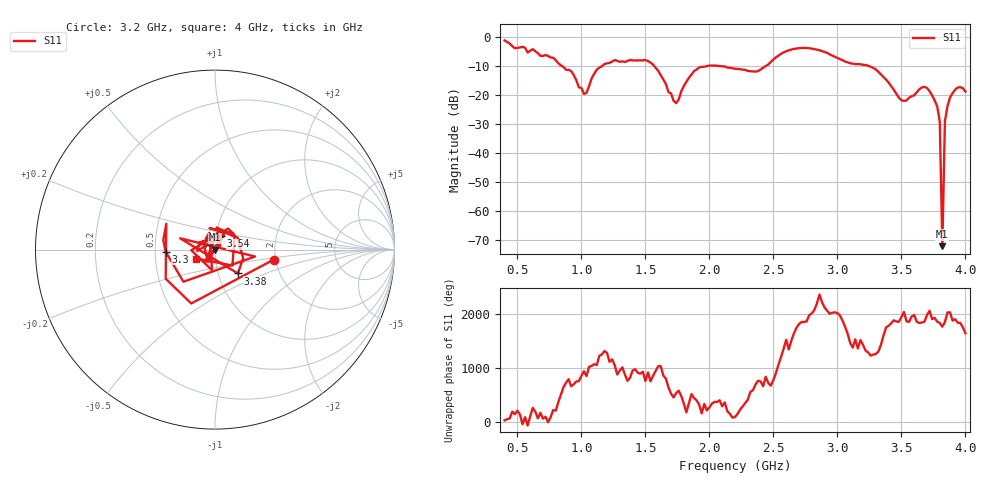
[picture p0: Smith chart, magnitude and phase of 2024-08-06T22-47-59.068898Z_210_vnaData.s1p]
!Created with skrf (http://scikit-rf.org).
# Hz S RI R 50.0
!freq ReS11 ImS11
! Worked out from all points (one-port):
!   181 points, 400 MHz to 4 GHz, reference 50 ohm
!   lowest |S11| = -72.0 dB at 3.82 GHz (marker M1), VSWR 1.00, Z = 50 - j0.0135 ohm
!   |S11| at or under -10 dB: 1.568 GHz to 1.985 GHz (416.6 MHz wide, 23.4 % of centre); 2.07 GHz to 2.441 GHz (370.4 MHz wide, 16.4 % of centre); 3.245 GHz to end of sweep (the widest 3 of 4)
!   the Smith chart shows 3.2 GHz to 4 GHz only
!   S11 on the Smith chart (normalised r, x): 3.2 GHz: 1.95, -0.25; 3.3 GHz: 0.57, -0.01; 3.38 GHz: 1.24, -0.34; 3.54 GHz: 1.06, +0.16; 4 GHz: 0.81, -0.08
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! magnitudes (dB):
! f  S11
! 400 MHz  -1.2
! 860 MHz  -10.3
! 920 MHz  -11.8
! 1.02 GHz  -19.6
! 1.12 GHz  -11.3
! 1.3 GHz  -8.6
! 1.54 GHz  -8.8
! 1.72 GHz  -22.0
! 1.76 GHz  -21.6
! 1.84 GHz  -14.1
! 1.92 GHz  -10.5
! 2.2 GHz  -11.0
! 2.38 GHz  -11.8
! 2.66 GHz  -4.1
! 3.1 GHz  -9.1
! 3.2 GHz  -9.6
! 3.3 GHz  -11.2
! 3.38 GHz  -14.7
! 3.54 GHz  -21.9
! 3.56 GHz  -20.9
! 3.68 GHz  -17.2
! 3.78 GHz  -23.9
! 3.8 GHz  -29.3
! 3.82 GHz  -72.0
! 3.84 GHz  -29.0
! 3.86 GHz  -23.8
! 3.9 GHz  -19.4
! 4 GHz  -18.8
